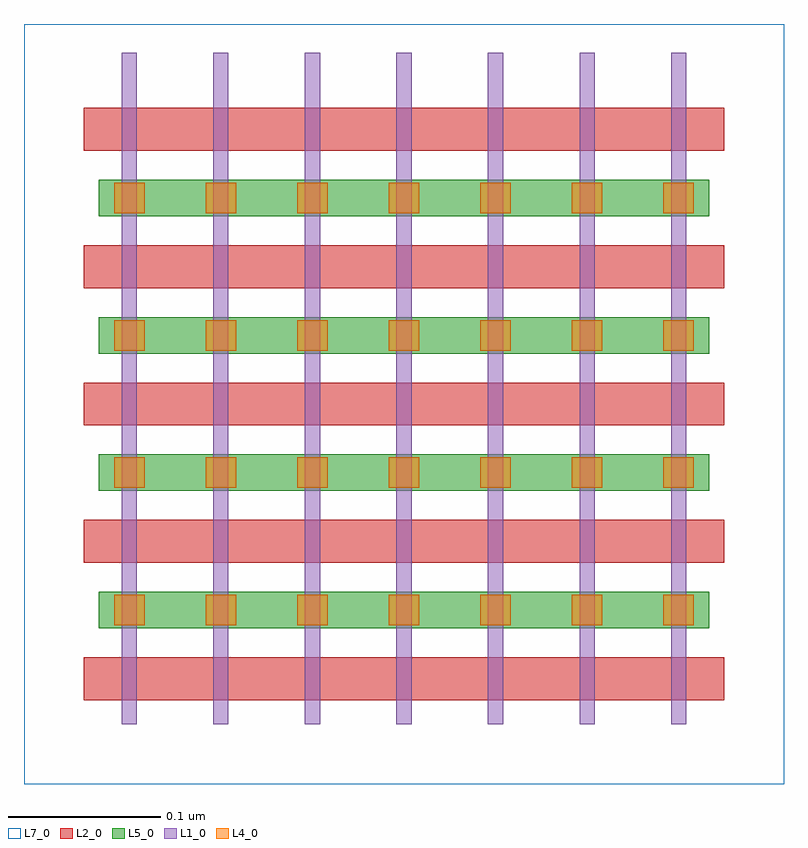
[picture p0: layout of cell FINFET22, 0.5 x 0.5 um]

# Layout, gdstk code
import gdstk
lib = gdstk.Library(unit=1e-6, precision=1e-09)
def R(c, l, rs):  # rectangles x0, y0, x1, y1
    for r in rs: c.add(gdstk.rectangle(r[:2], r[2:], *l))
def A(c, l, x, y, w, h, nx, ny, dx, dy):  # array of equal rectangles
    R(c, l, [(x+i*dx, y+j*dy, x+i*dx+w, y+j*dy+h) for i in range(nx) for j in range(ny)])
L1_0 = (1, 0)
L2_0 = (2, 0)
L4_0 = (4, 0)
L5_0 = (5, 0)
L7_0 = (7, 0)

finfet22 = lib.new_cell('FINFET22')
A(finfet22, L1_0, -0.185, -0.21, 0.01, 0.44, 7, 1, 0.06, 0)
A(finfet22, L2_0, -0.21, -0.194, 0.42, 0.028, 1, 5, 0, 0.09)
A(finfet22, L4_0, -0.19, -0.145, 0.02, 0.02, 7, 4, 0.06, 0.09)
A(finfet22, L5_0, -0.2, -0.147, 0.4, 0.024, 1, 4, 0, 0.09)
R(finfet22, L7_0, [(-0.249,-0.249,0.249,0.249)])

lib.write_gds('FINFET22.gds')
